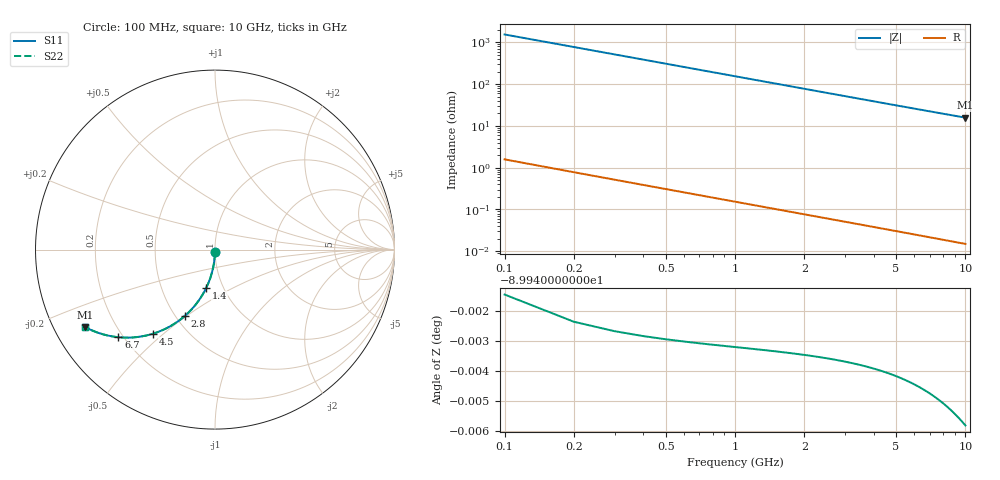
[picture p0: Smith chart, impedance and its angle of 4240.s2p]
# Hz S RI R 50.00
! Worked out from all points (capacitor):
!   100 points, 100 MHz to 10 GHz, reference 50 ohm
!   read as one part in shunt: C = 1.03 pF near 100 MHz
!   lowest |Z| = 15.8 ohm at 10 GHz (marker M1)
!   S11 on the Smith chart (normalised r, x): 100 MHz: 1.00, -0.03; 1.4 GHz: 0.83, -0.37; 2.8 GHz: 0.55, -0.49; 4.5 GHz: 0.33, -0.46; 6.7 GHz: 0.18, -0.37; 10 GHz: 0.09, -0.27
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1e8  -0.00025 -0.016  0.9997 -0.0162  0.9997 -0.0162  -0.00025 -0.016
2e8  -0.00104 -0.0319  0.9989 -0.0325  0.9989 -0.0325  -0.00104 -0.0319
3e8  -0.00235 -0.0478  0.9976 -0.0486  0.9976 -0.0486  -0.00235 -0.0478
4e8  -0.00417 -0.0636  0.9958 -0.0647  0.9958 -0.0647  -0.00417 -0.0636
5e8  -0.0065 -0.0793  0.9934 -0.0807  0.9934 -0.0807  -0.0065 -0.0793
6e8  -0.00932 -0.0949  0.9906 -0.0966  0.9906 -0.0966  -0.00932 -0.0949
7e8  -0.0126 -0.1103  0.9873 -0.1123  0.9873 -0.1123  -0.0126 -0.1103
9e8  -0.0207 -0.1407  0.9792 -0.1433  0.9792 -0.1433  -0.0207 -0.1407
1.1e9  -0.0306 -0.1702  0.9694 -0.1733  0.9694 -0.1733  -0.0306 -0.1702
1.4e9  -0.0486 -0.2125  0.9514 -0.2166  0.9514 -0.2166  -0.0486 -0.2125
1.8e9  -0.0778 -0.2648  0.9222 -0.2699  0.9222 -0.2699  -0.0778 -0.2648
2.3e9  -0.1209 -0.3223  0.879 -0.3289  0.879 -0.3289  -0.1209 -0.3223
2.8e9  -0.1693 -0.3705  0.8306 -0.3786  0.8306 -0.3786  -0.1693 -0.3705
3.4e9  -0.231 -0.4161  0.7689 -0.426  0.7689 -0.426  -0.231 -0.4161
3.9e9  -0.2833 -0.4444  0.7166 -0.4558  0.7166 -0.4558  -0.2833 -0.4444
4.5e9  -0.3447 -0.4682  0.6551 -0.4814  0.6551 -0.4814  -0.3447 -0.4682
5.1e9  -0.4033 -0.4826  0.5966 -0.4976  0.5966 -0.4976  -0.4033 -0.4826
5.9e9  -0.475 -0.4902  0.5248 -0.5076  0.5248 -0.5076  -0.475 -0.4902
6.7e9  -0.5385 -0.488  0.4612 -0.508  0.4612 -0.508  -0.5385 -0.488
7.5e9  -0.594 -0.4793  0.4057 -0.5017  0.4057 -0.5017  -0.594 -0.4793
8.4e9  -0.6475 -0.4646  0.3521 -0.4898  0.3521 -0.4898  -0.6475 -0.4646
1e10  -0.7229 -0.4318  0.2766 -0.4621  0.2766 -0.4621  -0.7229 -0.4318
